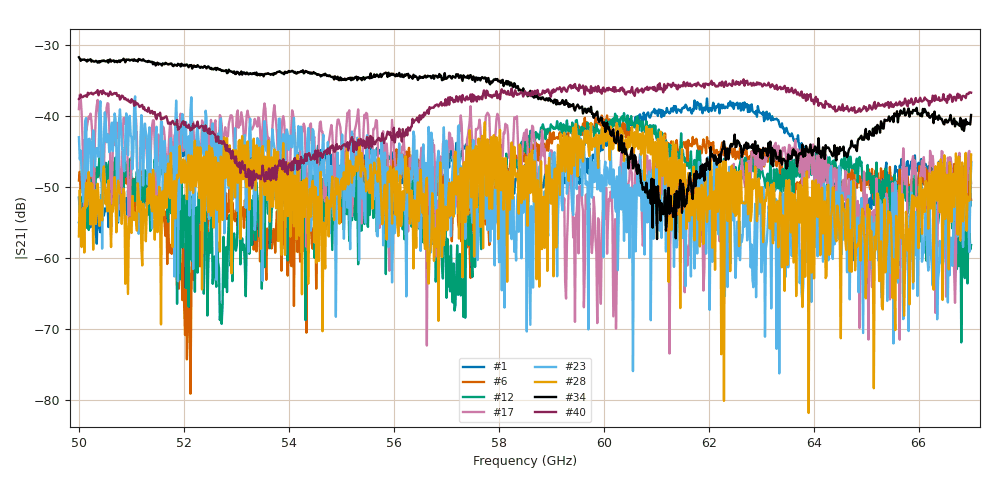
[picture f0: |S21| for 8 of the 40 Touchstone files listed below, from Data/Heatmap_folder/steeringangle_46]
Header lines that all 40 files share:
!Created with skrf (http://scikit-rf.org).
# GHz S RI R 50.0
!freq ReS11 ImS11 ReS21 ImS21 ReS12 ImS12 ReS22 ImS22
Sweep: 50 GHz to 67 GHz
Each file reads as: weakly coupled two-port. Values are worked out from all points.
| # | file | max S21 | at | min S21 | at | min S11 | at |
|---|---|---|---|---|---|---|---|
| 1 | az=40_el=0.s2p | -37.48 dB | 61.97 GHz | -60.3 dB | 64.77 GHz | -40.4 dB | 63.69 GHz |
| 2 | az=41_el=0.s2p | -37.62 dB | 60.83 GHz | -69.5 dB | 58.26 GHz | -40.3 dB | 66.49 GHz |
| 3 | az=42_el=0.s2p | -38.10 dB | 60.57 GHz | -74.9 dB | 63.53 GHz | -42.7 dB | 66.49 GHz |
| 4 | az=43_el=0.s2p | -38.41 dB | 60.57 GHz | -75.1 dB | 50.83 GHz | -43.8 dB | 66.49 GHz |
| 5 | az=44_el=0.s2p | -38.68 dB | 60.56 GHz | -60.3 dB | 50.02 GHz | -42.1 dB | 66.49 GHz |
| 6 | az=45_el=0.s2p | -39.87 dB | 60.06 GHz | -79.1 dB | 52.12 GHz | -39.4 dB | 66.49 GHz |
| 7 | az=46_el=0.s2p | -40.43 dB | 61.08 GHz | -75.3 dB | 50.88 GHz | -44.1 dB | 66.49 GHz |
| 8 | az=47_el=0.s2p | -40.09 dB | 60.61 GHz | -86.7 dB | 53.57 GHz | -41.3 dB | 66.49 GHz |
| 9 | az=48_el=0.s2p | -40.01 dB | 60.05 GHz | -80.8 dB | 54.88 GHz | -41.1 dB | 66.49 GHz |
| 10 | az=49_el=0.s2p | -40.69 dB | 59.76 GHz | -93.1 dB | 53.28 GHz | -39.1 dB | 66.49 GHz |
| 11 | az=50_el=0.s2p | -39.33 dB | 61.07 GHz | -81.9 dB | 57.75 GHz | -38.5 dB | 66.49 GHz |
| 12 | az=51_el=0.s2p | -39.54 dB | 60.39 GHz | -71.8 dB | 66.81 GHz | -41.1 dB | 66.49 GHz |
| 13 | az=52_el=0.s2p | -39.27 dB | 60.01 GHz | -78.0 dB | 51.16 GHz | -40.6 dB | 66.49 GHz |
| 14 | az=53_el=0.s2p | -41.31 dB | 66.76 GHz | -83.4 dB | 55.66 GHz | -43.2 dB | 66.49 GHz |
| 15 | az=54_el=0.s2p | -42.57 dB | 51.8 GHz | -75.9 dB | 50.03 GHz | -41.6 dB | 66.49 GHz |
| 16 | az=55_el=0.s2p | -40.29 dB | 50.36 GHz | -77.4 dB | 54.54 GHz | -40.7 dB | 66.49 GHz |
| 17 | az=56_el=0.s2p | -36.94 dB | 50.02 GHz | -73.4 dB | 61.25 GHz | -40.7 dB | 66.49 GHz |
| 18 | az=57_el=0.s2p | -39.00 dB | 50 GHz | -74.0 dB | 59.66 GHz | -39.8 dB | 61.97 GHz |
| 19 | az=58_el=0.s2p | -39.77 dB | 52.23 GHz | -79.8 dB | 63.92 GHz | -39.9 dB | 61.97 GHz |
| 20 | az=59_el=0.s2p | -40.15 dB | 52.02 GHz | -97.1 dB | 61.81 GHz | -41.7 dB | 61.97 GHz |
| 21 | az=60_el=0.s2p | -37.74 dB | 50.88 GHz | -86.4 dB | 64.82 GHz | -42.8 dB | 61.97 GHz |
| 22 | az=61_el=0.s2p | -37.68 dB | 52.04 GHz | -81.2 dB | 54.27 GHz | -42.4 dB | 61.97 GHz |
| 23 | az=62_el=0.s2p | -37.18 dB | 51.07 GHz | -76.2 dB | 63.34 GHz | -43.2 dB | 61.97 GHz |
| 24 | az=63_el=0.s2p | -37.10 dB | 51 GHz | -90.4 dB | 57.92 GHz | -45.5 dB | 61.97 GHz |
| 25 | az=64_el=0.s2p | -38.88 dB | 51.1 GHz | -81.8 dB | 65.32 GHz | -45.0 dB | 61.97 GHz |
| 26 | az=65_el=0.s2p | -40.18 dB | 54.01 GHz | -83.4 dB | 66.66 GHz | -45.7 dB | 61.97 GHz |
| 27 | az=66_el=0.s2p | -41.03 dB | 60.98 GHz | -83.0 dB | 66.29 GHz | -45.6 dB | 61.97 GHz |
| 28 | az=67_el=0.s2p | -40.82 dB | 57.73 GHz | -81.8 dB | 63.91 GHz | -45.2 dB | 61.97 GHz |
| 29 | az=68_el=0.s2p | -39.64 dB | 59.47 GHz | -80.1 dB | 64.28 GHz | -46.8 dB | 61.97 GHz |
| 30 | az=69_el=0.s2p | -39.60 dB | 59.13 GHz | -86.8 dB | 55.44 GHz | -44.3 dB | 61.97 GHz |
| 31 | az=70_el=0.s2p | -40.92 dB | 58.89 GHz | -80.3 dB | 66.22 GHz | -40.3 dB | 61.97 GHz |
| 32 | az=-1_el=0.s2p | -33.41 dB | 52.58 GHz | -45.7 dB | 60.61 GHz | -50.2 dB | 58.23 GHz |
| 33 | az=-2_el=0.s2p | -31.55 dB | 51.1 GHz | -48.8 dB | 61.85 GHz | -50.1 dB | 66.49 GHz |
| 34 | az=-3_el=0.s2p | -31.67 dB | 50 GHz | -57.3 dB | 61.02 GHz | -51.1 dB | 58.23 GHz |
| 35 | az=-4_el=0.s2p | -34.29 dB | 50.03 GHz | -51.9 dB | 59.28 GHz | -52.1 dB | 66.49 GHz |
| 36 | az=-5_el=0.s2p | -36.72 dB | 66.18 GHz | -55.2 dB | 54.08 GHz | -53.5 dB | 66.49 GHz |
| 37 | az=-6_el=0.s2p | -36.82 dB | 56.19 GHz | -56.5 dB | 50 GHz | -56.3 dB | 66.49 GHz |
| 38 | az=-7_el=0.s2p | -36.66 dB | 56.32 GHz | -53.2 dB | 59.98 GHz | -58.4 dB | 66.49 GHz |
| 39 | az=-8_el=0.s2p | -35.70 dB | 60.83 GHz | -46.6 dB | 57.55 GHz | -51.3 dB | 66.49 GHz |
| 40 | az=-9_el=0.s2p | -34.79 dB | 62.66 GHz | -50.1 dB | 53.3 GHz | -53.6 dB | 66.49 GHz |
